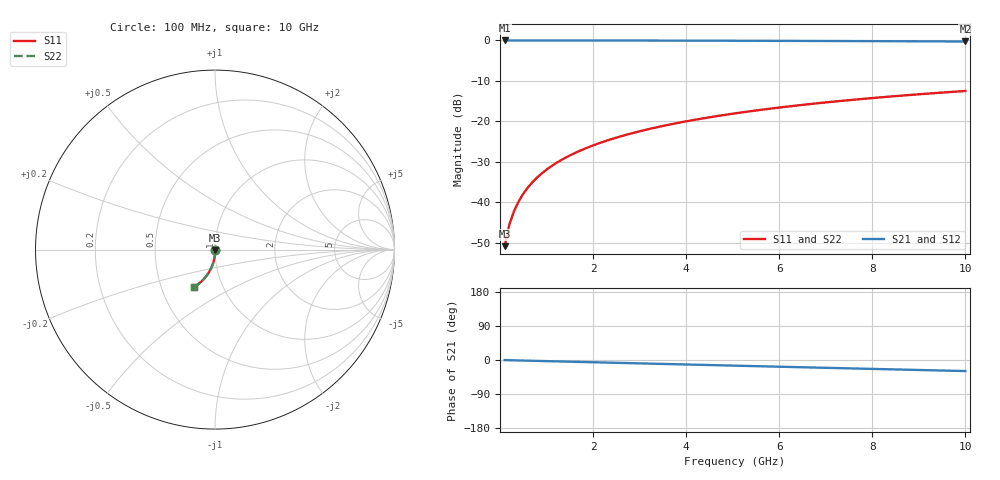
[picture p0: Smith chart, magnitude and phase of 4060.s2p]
# Hz S RI R 50.00
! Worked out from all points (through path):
!   100 points, 100 MHz to 10 GHz, reference 50 ohm
!   highest |S21| = -0.01 dB at 100 MHz (marker M1); lowest = -0.3 dB at 10 GHz (marker M2)
!   group delay of S21, straight-line fit = 8.12 ps
!   lowest |S11| = -50.9 dB at 100 MHz (marker M3), VSWR 1.01, Z = 50.1 - j0.253 ohm
!   |S11| at or under -10 dB: start of sweep to end of sweep
!   |S22| runs from -50.9 to -12.5 dB; largest |S21 - S12| = 0
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1e8  0.00133 -0.00252  0.9986 -0.00517  0.9986 -0.00517  0.00133 -0.00252
2e8  0.00129 -0.00505  0.9986 -0.0103  0.9986 -0.0103  0.00129 -0.00505
3e8  0.00123 -0.00757  0.9985 -0.0155  0.9985 -0.0155  0.00123 -0.00757
4e8  0.00114 -0.0101  0.9984 -0.0207  0.9984 -0.0207  0.00114 -0.0101
5e8  0.00102 -0.0126  0.9982 -0.0259  0.9982 -0.0259  0.00102 -0.0126
6e8  0.000882 -0.0151  0.998 -0.031  0.998 -0.031  0.000882 -0.0151
7e8  0.000712 -0.0176  0.9978 -0.0362  0.9978 -0.0362  0.000712 -0.0176
8e8  0.000517 -0.0202  0.9975 -0.0414  0.9975 -0.0414  0.000517 -0.0202
9e8  0.000295 -0.0227  0.9972 -0.0465  0.9972 -0.0465  0.000295 -0.0227
1.1e9  -0.000227 -0.0277  0.9966 -0.0569  0.9966 -0.0569  -0.000227 -0.0277
1.4e9  -0.00121 -0.0352  0.9953 -0.0723  0.9953 -0.0723  -0.00121 -0.0352
1.8e9  -0.00287 -0.0451  0.9932 -0.0929  0.9932 -0.0929  -0.00287 -0.0451
2.1e9  -0.00439 -0.0525  0.9912 -0.1082  0.9912 -0.1082  -0.00439 -0.0525
2.5e9  -0.00677 -0.0623  0.9882 -0.1286  0.9882 -0.1286  -0.00677 -0.0623
2.9e9  -0.00954 -0.072  0.9846 -0.1489  0.9846 -0.1489  -0.00954 -0.072
3.4e9  -0.0136 -0.0839  0.9795 -0.174  0.9795 -0.174  -0.0136 -0.0839
4.2e9  -0.0212 -0.1024  0.9696 -0.2138  0.9696 -0.2138  -0.0212 -0.1024
5.1e9  -0.0316 -0.1223  0.9562 -0.2575  0.9562 -0.2575  -0.0316 -0.1223
5.9e9  -0.0423 -0.139  0.9424 -0.2955  0.9424 -0.2955  -0.0423 -0.139
6.7e9  -0.0542 -0.1548  0.9268 -0.3325  0.9268 -0.3325  -0.0542 -0.1548
8.4e9  -0.0833 -0.1845  0.8884 -0.4074  0.8884 -0.4074  -0.0833 -0.1845
1e10  -0.1144 -0.2074  0.8465 -0.4727  0.8465 -0.4727  -0.1144 -0.2074
